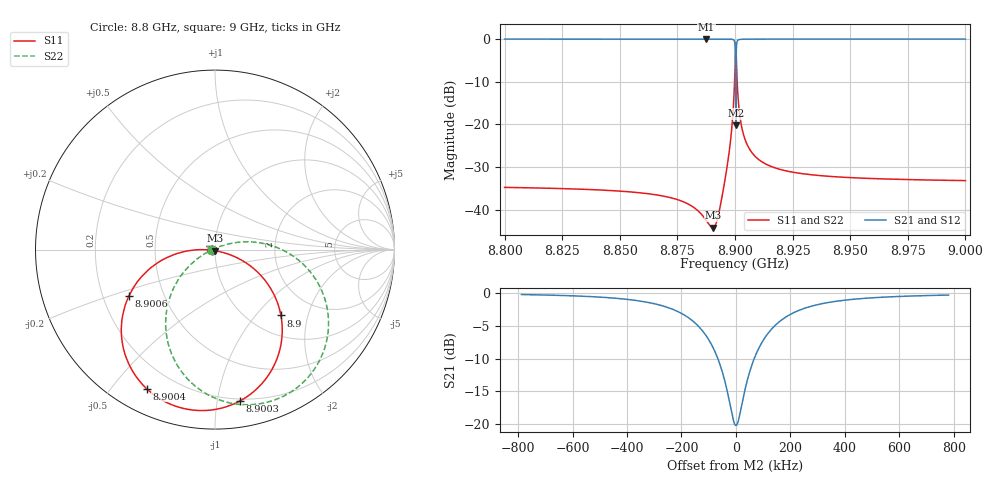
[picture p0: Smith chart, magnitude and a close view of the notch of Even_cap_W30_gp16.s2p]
! Sonnet Data File
! From: emgraph Version : 16.52
! From Project: Resonator2_cp_varyW
! Data is De-embedded
! Data File Written: 10/07/2017 09:25:24
!< HDATE 10/06/2017 17:18:21
!< MDATE 10/06/2017 17:18:21
!< PARAMS
!< gap = 16.0
!< Length = 400.0
!< Pwid1 = 2000.0
!< Pwid2 = 2000.0
!< Air_gap = 18.0
!< Width = 30.0
!< END PARAMS
# GHZ S MA R 51.80000
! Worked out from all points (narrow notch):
!   1595 points, 8.8 GHz to 9 GHz, reference 51.8 ohm
!   highest |S21| = 0.00 dB at 8.8876 GHz (marker M1); lowest = -20.2 dB at 8.9003 GHz (marker M2)
!   notch at M2: 20.2 dB deep, 132 kHz wide at half that depth
!   lowest |S11| = -44.2 dB at 8.8904 GHz (marker M3), VSWR 1.01, Z = 51.7 - j0.629 ohm
!   |S11| at or under -10 dB: start of sweep to 8.8998 GHz; 8.9009 GHz to end of sweep
!   |S22| runs from -44.3 to -0.9 dB; largest |S21 - S12| = 0
!   S11 on the Smith chart (normalised r, x): 8.8 GHz: 0.96, -0.01; 8.9 GHz: 1.37, -1.37; 8.9003 GHz: 0.18, -1.16; 8.9004 GHz: 0.10, -0.62; 8.9006 GHz: 0.31, -0.23; 9 GHz: 0.96, -0.01
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8.8  0.01826 -167.7  0.9998 -80.8  0.9998 -80.8  0.01826 -173.8
!< P1 F=8.8 Eeff=(6.44507571 -2.9713e-5) Z0=(50.6188468 1.16784e-4) R=0.0 C=0.0
!< P2 F=8.8 Eeff=(6.44507571 -2.9713e-5) Z0=(50.6188468 1.16784e-4) R=0.0 C=0.0
8.8334  0.01739 -167.0  0.9998 -81.1  0.9998 -81.1  0.01739 -175.3
8.8668  0.01478 -163.6  0.9999 -81.6  0.9999 -81.6  0.01478 -179.6
8.8876  0.007438 -133.0  0.9999 -82.3  0.9999 -82.3  0.007401 148.6
8.8904  0.00616 -98.9  0.9999 -82.6  0.9999 -82.6  0.006085 113.7
8.892766  0.008616 -55.3  0.9999 -82.9  0.9999 -82.9  0.008522 68.8
8.896995  0.03826 -20.9  0.9989 -84.8  0.9989 -84.8  0.03815 30.3
8.898974  0.1193 -19.8  0.9908 -89.5  0.9908 -89.5  0.1191 18.9
8.9  0.4628 -40.8  0.8582 -110.1  0.8582 -110.1  0.4621 -6.6
8.90005  0.5191 -45.0  0.818 -113.8  0.818 -113.8  0.5183 -11.0
8.900193  0.7347 -64.1  0.5836 -129.3  0.5836 -129.3  0.7337 -30.6
8.900271  0.8554 -80.8  0.3296 -137.7  0.3296 -137.7  0.8542 -47.7
8.900341  0.9028 -99.2  0.0978 -82.0  0.0978 -82.0  0.9016 -66.3
8.900406  0.8632 -116.2  0.3109 -27.2  0.3109 -27.2  0.8621 -83.6
8.90049  0.742 -133.8  0.5782 -35.4  0.5782 -35.4  0.7411 -101.4
8.900627  0.5465 -151.6  0.8004 -49.6  0.8004 -49.6  0.5458 -119.7
8.9012  0.2329 -172.9  0.9674 -69.2  0.9674 -69.2  0.2327 -143.0
8.9024  0.111 -179.1  0.9929 -76.3  0.9929 -76.3  0.1109 -152.6
8.906808  0.04891 -179.1  0.9987 -79.9  0.9987 -79.9  0.04888 -160.6
8.9334  0.02564 -174.1  0.9997 -81.5  0.9997 -81.5  0.02564 -168.9
8.9668  0.02285 -172.9  0.9997 -82.0  0.9997 -82.0  0.02285 -171.1
9  0.02194 -172.5  0.9998 -82.4  0.9998 -82.4  0.02194 -172.2
